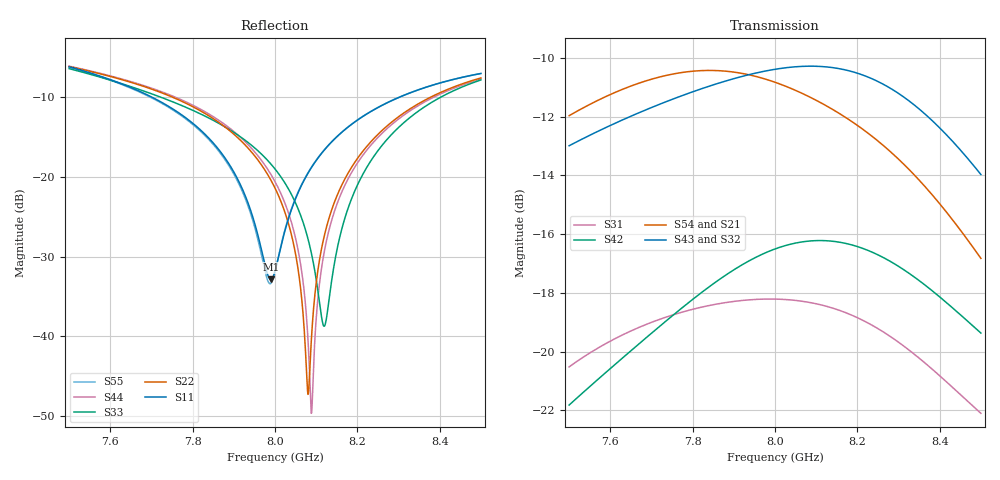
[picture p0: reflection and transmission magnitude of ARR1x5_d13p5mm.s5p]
! Touchstone file exported from HFSS 2025.1.0
!  File:  C:/Users/user/Documents/Ansoft/TFG_UWB-MIMO-Array.aedt
!  Generated:  06:37:32 PM Nov 20, 2026
!  Design:  ARR1x5_P01_MS2_dparam
!  Project:  TFG_UWB-MIMO-Array
!  Setup:  Setup_ch9
!  Solution:  Sweep_7p5_8p5
! Variables:
!  arr_d = 13.5mm
!  board_m = 13mm
!  board_x = 80mm
!  board_y = 26mm
!  cu_t = 0.035mm
!  line_w = 3.92mm
!  pad_xy = 22mm
!  pad_zn = 25mm
!  pad_zp = 33mm
!  patch_L = 7.322mm
!  patch_W = 11.421266mm
!  sub_h = 2.07mm
!  tr_l = 7.1mm
!  tr_w = 0.8mm
# GHz S MA R 50.000000
! Terminal data exported
! Port[1] = P1
! Port[2] = P2
! Port[3] = P3
! Port[4] = P4
! Port[5] = P5
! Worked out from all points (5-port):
!   1001 points, 7.5 GHz to 8.5 GHz, reference 50 ohm
!   strongest paths, dB at 7.5 GHz, 7.75 GHz, 8 GHz, 8.25 GHz, 8.5 GHz:
!     S43: -13.0, -11.4, -10.4, -10.8, -14.0
!     S32: -13.0, -11.5, -10.5, -10.9, -14.0
!     S54: -12.0, -10.6, -10.8, -12.8, -16.8
!     S21: -12.0, -10.6, -10.9, -12.9, -16.8
!     S42: -21.8, -18.8, -16.5, -16.7, -19.4
!     S31: -20.5, -18.8, -18.2, -19.2, -22.1
!   lowest |S11| = -32.9 dB at 7.99 GHz (marker M1), VSWR 1.05, Z = 52.1 + j0.927 ohm
!   |S11| at or under -10 dB: 7.702 GHz to 8.302 GHz (599.9 MHz wide, 7.5 % of centre)
